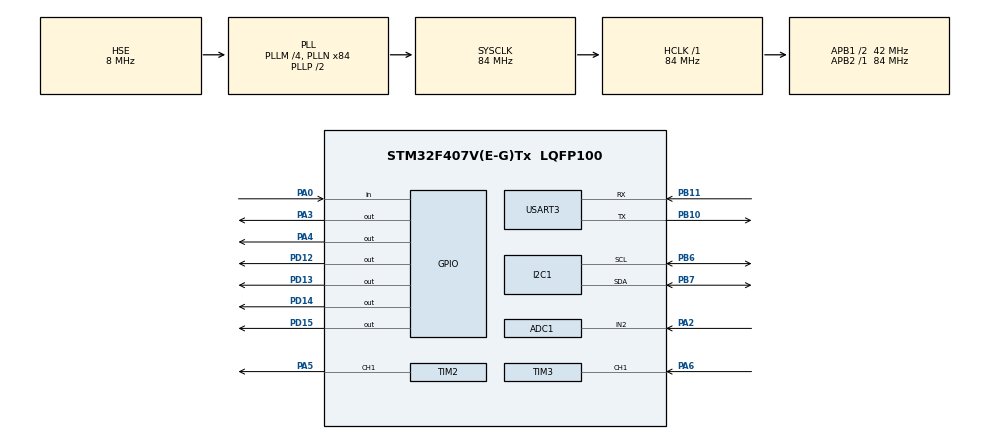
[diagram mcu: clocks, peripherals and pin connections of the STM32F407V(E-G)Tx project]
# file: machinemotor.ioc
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ADC1.Channel-0\#ChannelRegularConversion=ADC_CHANNEL_2
ADC1.ContinuousConvMode=ENABLE
ADC1.DMAContinuousRequests=ENABLE
ADC1.EOCSelection=ADC_EOC_SEQ_CONV
ADC1.NbrOfConversion=1
ADC1.NbrOfConversionFlag=1
ADC1.Rank-0\#ChannelRegularConversion=1
ADC1.SamplingTime-0\#ChannelRegularConversion=ADC_SAMPLETIME_56CYCLES
ADC1.ScanConvMode=ENABLE
ADC1.master=1
Dma.ADC1.0.Direction=DMA_PERIPH_TO_MEMORY
Dma.ADC1.0.FIFOMode=DMA_FIFOMODE_DISABLE
Dma.ADC1.0.Instance=DMA2_Stream0
Dma.ADC1.0.MemDataAlignment=DMA_MDATAALIGN_HALFWORD
Dma.ADC1.0.MemInc=DMA_MINC_ENABLE
Dma.ADC1.0.Mode=DMA_CIRCULAR
Dma.ADC1.0.PeriphDataAlignment=DMA_PDATAALIGN_HALFWORD
Dma.ADC1.0.PeriphInc=DMA_PINC_DISABLE
Dma.ADC1.0.Priority=DMA_PRIORITY_LOW
Dma.Request0=ADC1
Mcu.Family=STM32F4
Mcu.Name=STM32F407V(E-G)Tx
Mcu.Package=LQFP100
NVIC.DMA2_Stream0_IRQn=true\:3\:0\:true\:false\:true\:false\:true\:true
NVIC.PriorityGroup=NVIC_PRIORITYGROUP_4
NVIC.TIM3_IRQn=true\:0\:0\:true\:false\:true\:true\:true\:true
NVIC.TIM4_IRQn=true\:1\:0\:true\:false\:true\:true\:true\:true
NVIC.USART3_IRQn=true\:2\:0\:true\:false\:true\:true\:true\:true
PA0-WKUP.Signal=GPIO_Input
PA13.Mode=Serial_Wire
PA13.Signal=SYS_JTMS-SWDIO
PA14.Mode=Serial_Wire
PA14.Signal=SYS_JTCK-SWCLK
PA2.Signal=ADCx_IN2
PA3.Signal=GPIO_Output
PA4.Signal=GPIO_Output
PA5.Signal=S_TIM2_CH1_ETR
PA6.GPIO_PuPd=GPIO_PULLUP
PA6.Signal=S_TIM3_CH1
PB10.Mode=Asynchronous
PB10.Signal=USART3_TX
PB11.Mode=Asynchronous
PB11.Signal=USART3_RX
PB6.Mode=I2C
PB6.Signal=I2C1_SCL
PB7.Mode=I2C
PB7.Signal=I2C1_SDA
PD12.Signal=GPIO_Output
PD13.Signal=GPIO_Output
PD14.Signal=GPIO_Output
PD15.Signal=GPIO_Output
PH0-OSC_IN.Mode=HSE-External-Oscillator
PH0-OSC_IN.Signal=RCC_OSC_IN
PH1-OSC_OUT.Mode=HSE-External-Oscillator
PH1-OSC_OUT.Signal=RCC_OSC_OUT
ProjectManager.HeapSize=0x200
ProjectManager.StackSize=0x400
ProjectManager.TargetToolchain=STM32CubeIDE
RCC.48MHZClocksFreq_Value=42000000
RCC.AHBFreq_Value=84000000
RCC.APB1CLKDivider=RCC_HCLK_DIV2
RCC.APB1Freq_Value=42000000
RCC.APB1TimFreq_Value=84000000
RCC.APB2Freq_Value=84000000
RCC.APB2TimFreq_Value=84000000
RCC.CortexFreq_Value=84000000
RCC.HCLKFreq_Value=84000000
RCC.HSE_VALUE=8000000
RCC.HSI_VALUE=16000000
RCC.LSE_VALUE=32768
RCC.PLLM=4
RCC.PLLN=84
RCC.PLLSourceVirtual=RCC_PLLSOURCE_HSE
RCC.SYSCLKFreq_VALUE=84000000
RCC.SYSCLKSource=RCC_SYSCLKSOURCE_PLLCLK
RCC.VCOOutputFreq_Value=168000000
SH.ADCx_IN2.0=ADC1_IN2,IN2
SH.S_TIM2_CH1_ETR.0=TIM2_CH1,PWM Generation1 CH1
SH.S_TIM3_CH1.0=TIM3_CH1,Input_Capture1_from_TI1
TIM2.Channel-PWM\ Generation1\ CH1=TIM_CHANNEL_1
TIM2.Period=3359
TIM2.Prescaler=0
TIM3.Channel-Input_Capture1_from_TI1=TIM_CHANNEL_1
TIM3.ICFilter_CH1=15
TIM3.ICPolarity_CH1=TIM_INPUTCHANNELPOLARITY_FALLING
TIM3.Prescaler=83
TIM4.Period=499
TIM4.Prescaler=8399
USART3.VirtualMode=VM_ASYNC
VP_TIM2_VS_ClockSourceINT.Mode=Internal
VP_TIM3_VS_ClockSourceINT.Mode=Internal
VP_TIM4_VS_ClockSourceINT.Mode=Internal
board=custom

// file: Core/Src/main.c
/* USER CODE BEGIN Header */
/**
  ******************************************************************************
  * @file           : main.c
  * @brief          : Main program body
  ******************************************************************************
  */
/* USER CODE END Header */
#include "main.h"

/* USER CODE BEGIN Includes */

#include "lcd_2x16_drivers.h"
#include "uart_ex.h"
#include "io_driver.h"
#include "adc_drive.h"

/* USER CODE END Includes */

/* USER CODE BEGIN PD */

#define FILTER_SAMPLES     5
#define PWM_MAX            3360.0f
#define PWM_KICKSTART      300.0f
#define SIGNAL_TIMEOUT_MS  150

/* USER CODE END PD */

ADC_HandleTypeDef hadc1;
DMA_HandleTypeDef hdma_adc1;

I2C_HandleTypeDef hi2c1;

TIM_HandleTypeDef htim2;
TIM_HandleTypeDef htim3;
TIM_HandleTypeDef htim4;

UART_HandleTypeDef huart3;

/* USER CODE BEGIN PV */

UART_Ex_t uart3;
Circular_Buffer_t uartCbIn;
Circular_Buffer_t uartCbOut;
IO_Info_t ioInfo;
ADC_Info_t adcInfo;

volatile uint32_t 	manuel_pulse_sayaci = 0;
volatile uint8_t 	veri_hazir = 0;
volatile uint32_t 	log_zaman = 0;
volatile uint32_t 	log_rpm = 0;

volatile uint32_t 	prev_capture = 0;
volatile uint32_t 	curr_capture = 0;
volatile uint32_t 	pulse_interval = 0;
volatile uint8_t 	first_pulse = 1;

// İKİ FARKLI KRONOMETRE
volatile uint32_t last_pulse_tick 		= 0;
volatile uint32_t last_valid_pulse_time = 0;

volatile float raw_rpm 		= 0;
volatile float filtered_rpm = 0.0f;

volatile float 		rpm_buffer[FILTER_SAMPLES] = {0};
volatile uint8_t 	buffer_index = 0;
volatile uint8_t 	buffer_count = 0;

float target_rpm 		= 500.0f;
float target_rpm_hedef 	= 0.0f; // Başlangıçta motor dursun diye 0 yapıldı
float kp = 2.4629, ki 	= 0.07874, kd = 0.0f;
float error = 0, last_error = 0, integral = 0;
float pid_output 		= 0;

LCD_t lcd =
{
	.backLight 	= true,
	.columns 	= 16,
	.rows 	 	= 2,
	.i2c_addr 	= LCD_I2C_DEVICE_ADDRESS,
	.hi2c		= &hi2c1
};

/* USER CODE END PV */

void SystemClock_Config(void);
static void MX_GPIO_Init(void);
static void MX_DMA_Init(void);
static void MX_TIM2_Init(void);
static void MX_TIM3_Init(void);
static void MX_TIM4_Init(void);
static void MX_USART3_UART_Init(void);
static void MX_I2C1_Init(void);
static void MX_ADC1_Init(void);
/* USER CODE BEGIN PFP */

float Update_RPM_Filter(float new_rpm);
void PID_Update(void);

/* USER CODE END PFP */

int main(void)
{

  /* MCU Configuration--------------------------------------------------------*/

  /* Reset of all peripherals, Initializes the Flash interface and the Systick. */
  HAL_Init();

  /* USER CODE BEGIN Init */
  IO_Initalization(&ioInfo);
  /* USER CODE END Init */

  /* Configure the system clock */
  SystemClock_Config();

  /* Initialize all configured peripherals */
  MX_GPIO_Init();
  MX_DMA_Init();
  MX_TIM2_Init();
  MX_TIM3_Init();
  MX_TIM4_Init();
  MX_USART3_UART_Init();
  MX_I2C1_Init();
  MX_ADC1_Init();
  /* USER CODE BEGIN 2 */

  HAL_TIM_PWM_Start(&htim2, TIM_CHANNEL_1);
  HAL_TIM_IC_Start_IT(&htim3, TIM_CHANNEL_1);
  HAL_TIM_Base_Start_IT(&htim4);

  ADC_Initialization(&adcInfo, &hadc1);
  if(adcInfo.adcError != ADC_No_Error)
  {
 	  //ADC başlatılamadı, kullanıcıya bilgi ver!
  }

  UARTx_Initalization(&uart3, &huart3, &uartCbIn, &uartCbOut);

  char lineBuffer[128];

  // Motor Yön Pinleri Başlangıç (İleri Vites)
  HAL_GPIO_WritePin(GPIOA, GPIO_PIN_3, GPIO_PIN_RESET);
  HAL_GPIO_WritePin(GPIOA, GPIO_PIN_4, GPIO_PIN_SET);

  LCD_Initalization(&lcd);
  LCD_Clear(&lcd);
  LCD_Set_Cursor(&lcd, 0, 0);

  LCD_Send_String(&lcd,"E-BIKE SYSTEM");
  HAL_Delay(1000);

  LCD_Set_Cursor(&lcd, 0, 1);
  LCD_Send_String(&lcd, "YUSUF E-DRIVE");
  LCD_Set_Cursor(&lcd, 1, 2);
  LCD_Send_String(&lcd, "Version 2.0");
  HAL_Delay(2000);

  LCD_Clear(&lcd);
  LCD_Show_Cursor(&lcd);

  uint8_t secilen_mod 				= 1;
  uint32_t son_lcd_guncelleme 		= 0;
  Input_Status_t son_buton_durumu	= Input_Status_Low;

  ioInfo.outputInfo.ledGreen.pinState 	= GPIO_PIN_RESET;
  ioInfo.outputInfo.ledOrange.pinState 	= GPIO_PIN_RESET;
  ioInfo.outputInfo.ledRed.pinState	 	= GPIO_PIN_RESET;
  ioInfo.outputInfo.ledBlue.pinState 	= GPIO_PIN_RESET;

  // KONTROL ÜNİTESİ DURUM DEĞİŞKENLERİ
  static uint8_t sistem_durumu = 0;        // 0-3: Kurulum Menüsü, 4: Aktif Sürüş
  static uint8_t uart_reverse_request = 0; // 0: İleri (F), 1: Geri (R)
  static uint8_t current_direction = 0;    // Motorun fiziksel yönü
  static uint8_t drive_mode_type = 0;      // 0: Otomatik (A), 1: Manuel (M)

  /* USER CODE END 2 */

  /* Infinite loop */
  while (1)
  {

    /* USER CODE BEGIN 3 */

      // 1. HER ZAMAN POTANSİYOMETREYİ OKU (Arka Plan ADC)
      ADC_DMA_Conversion(&adcInfo);
      uint32_t pot_degeri = adcInfo.adcConvertedData[ADC_Channel_2];

      // =====================================================================
      // 2.(STATE MACHINE)
      // =====================================================================
      if (sistem_durumu == 0) // ADIM 1: Yön Sorma Ekranı
      {
          target_rpm_hedef = 0.0f; // Güvenlik için aracı kilitli tut

          UARTx_Printf(&uart3, "\r\n===============================\n\r");
          UARTx_Printf(&uart3, "   E-DRIVE SISTEM KURULUMU     \n\r");
          UARTx_Printf(&uart3, "===============================\n\r");
          UARTx_Printf(&uart3, "Lutfen Yonu Seciniz:\n\r");
          UARTx_Printf(&uart3, "[F] Ileri (Forward)\n\r");
          UARTx_Printf(&uart3, "[R] Geri (Reverse)\n\r");
          UARTx_Printf(&uart3, "Seciminiz (F/R): ");

          sistem_durumu = 1;
      }
      else if (sistem_durumu == 1) // ADIM 2: Yön Cevabını İşle
      {
          if(UARTx_ReadLine(&uart3, lineBuffer, sizeof(lineBuffer)))
          {
              if (lineBuffer[0] == 'F' || lineBuffer[0] == 'f') {
                  uart_reverse_request = 0;
                  UARTx_Printf(&uart3, "%c\n\r>> ILERI vites secildi.\n\r", lineBuffer[0]);
                  sistem_durumu = 2;
              }
              else if (lineBuffer[0] == 'R' || lineBuffer[0] == 'r') {
                  uart_reverse_request = 1;
                  drive_mode_type = 1;
                  UARTx_Printf(&uart3, "GERI\n\r*** GERI VITES AKTIF (Maks 600 RPM) ***\n\r");
                  UARTx_Printf(&uart3, "\r\n*** KURULUM TAMAMLANDI. MOTOR DEVREDE! ***\n\r");
                  UARTx_Printf(&uart3, "(Durdurmak ve resetlemek icin 'C' yazabilirsiniz)\n\r\n\r");
                  sistem_durumu = 4;
              }
              else {
                  UARTx_Printf(&uart3, "%c\n\r[!] Hatali giris! Lutfen 'F' veya 'R' tuslayiniz: ", lineBuffer[0]);
              }
          }
      }
      else if (sistem_durumu == 2) // ADIM 3: Sürüş Modu Sorma Ekranı
      {
          UARTx_Printf(&uart3, "\r\nLutfen Surus Modunu Seciniz:\n\r");
          UARTx_Printf(&uart3, "[A] Otomatik (Sabit Hiz - Buton)\n\r");
          UARTx_Printf(&uart3, "[M] Manuel (Gaz Kolu Kontrolu)\n\r");
          UARTx_Printf(&uart3, "Seciminiz (A/M): ");

          sistem_durumu = 3;
      }
      else if (sistem_durumu == 3) // ADIM 4: Mod Cevabını İşle
      {
          if(UARTx_ReadLine(&uart3, lineBuffer, sizeof(lineBuffer)))
          {
              if (lineBuffer[0] == 'A' || lineBuffer[0] == 'a') {
                  drive_mode_type = 0;
                  secilen_mod = 1; // Otomatikte ECO'dan başlasın
                  UARTx_Printf(&uart3, "%c\n\r>> OTOMATIK mod secildi.\n\r", lineBuffer[0]);
                  sistem_durumu = 4;
              }
              else if (lineBuffer[0] == 'M' || lineBuffer[0] == 'm') {
                  drive_mode_type = 1;
                  UARTx_Printf(&uart3, "%c\n\r>> MANUEL mod secildi.\n\r", lineBuffer[0]);
                  sistem_durumu = 4;
              }
              else {
                  UARTx_Printf(&uart3, "%c\n\r[!] Hatali giris! Lutfen 'A' veya 'M' tuslayiniz: ", lineBuffer[0]);
              }

              if (sistem_durumu == 4) {
                  UARTx_Printf(&uart3, "\r\n*** KURULUM TAMAMLANDI. MOTOR DEVREDE! ***\n\r");
                  UARTx_Printf(&uart3, "(Durdurmak ve resetlemek icin 'C' yazabilirsiniz)\n\r\n\r");
              }
          }
      }
      else if (sistem_durumu == 4) // ADIM 5: AKTİF SÜRÜŞ (Araç Yolda)
      {
          // --- SÜRÜŞÜ DURDURMA / SIFIRLAMA ---
          if(UARTx_ReadLine(&uart3, lineBuffer, sizeof(lineBuffer)))
          {
               if (lineBuffer[0] == 'C' || lineBuffer[0] == 'c') {
                   UARTx_Printf(&uart3, "\r\n>>> SISTEM DURDURULDU! KURULUM YENIDEN BASLIYOR <<<\n\r");
                   target_rpm_hedef = 0.0f;
                   target_rpm = 0.0f;
                   integral = 0.0f; // PID'yi sıfırla ki motoru zorlamasın
                   __HAL_TIM_SET_COMPARE(&htim2, TIM_CHANNEL_1, 0); // PWM'i anında kes
                   sistem_durumu = 0; // Başa dön
               }
          }

          // --- H-KÖPRÜSÜ GÜVENLİK FRENİ VE YÖN DEĞİŞİMİ ---
          if (uart_reverse_request != current_direction)
          {
              target_rpm_hedef = 0.0f; // Fren yap

              if (filtered_rpm < 50.0f) // Motor güvenlice durdu
              {
                  current_direction = uart_reverse_request;

                  if (current_direction == 1) // GERİ VİTES
                  {
                      HAL_GPIO_WritePin(GPIOA, GPIO_PIN_3, GPIO_PIN_SET);
                      HAL_GPIO_WritePin(GPIOA, GPIO_PIN_4, GPIO_PIN_RESET);
                      ioInfo.outputInfo.ledBlue.pinState = GPIO_PIN_SET;
                  }
                  else // İLERİ VİTES
                  {
                      HAL_GPIO_WritePin(GPIOA, GPIO_PIN_3, GPIO_PIN_RESET);
                      HAL_GPIO_WritePin(GPIOA, GPIO_PIN_4, GPIO_PIN_SET);
                      ioInfo.outputInfo.ledBlue.pinState = GPIO_PIN_RESET;
                  }
              }
          }
          else // --- SEYİR HALİ (GAZ TEPKİLERİ) ---
          {
              if (current_direction == 1)
              {
                  // GERİ VİTES (Sadece Pot, Maks 300 RPM)
                  target_rpm_hedef = ((float)pot_degeri / 4095.0f) * 600.0f;
              }
              else
              {
                  // İLERİ VİTES
                  if (drive_mode_type == 1)
                  {
                      // MANUEL MOD (Potansiyometre kontrolü, Maks 1200 RPM)
                      target_rpm_hedef = ((float)pot_degeri / 4095.0f) * 1200.0f;

                      ioInfo.outputInfo.ledGreen.pinState = GPIO_PIN_SET;
                      ioInfo.outputInfo.ledOrange.pinState = GPIO_PIN_RESET;
                      ioInfo.outputInfo.ledRed.pinState = GPIO_PIN_SET;
                  }
                  else
                  {
                      // OTOMATİK MOD (Mavi Buton ile Sabit Hız Seçimi)
                      IO_Status_Control(&ioInfo);

                      if (ioInfo.inputInfo.userButton.Input_Status == Input_Status_High && son_buton_durumu == Input_Status_Low)
                      {
                          secilen_mod++;
                          if (secilen_mod > 3) secilen_mod = 1;
                          son_lcd_guncelleme = 0;
                      }
                      son_buton_durumu = ioInfo.inputInfo.userButton.Input_Status;

                      switch(secilen_mod)
                      {
                          case 1: // ECO
                              target_rpm_hedef = 500.0f;
                              ioInfo.outputInfo.ledGreen.pinState = GPIO_PIN_SET;
                              ioInfo.outputInfo.ledOrange.pinState = GPIO_PIN_RESET;
                              ioInfo.outputInfo.ledRed.pinState = GPIO_PIN_RESET;
                              break;
                          case 2: // CITY
                              target_rpm_hedef = 900.0f;
                              ioInfo.outputInfo.ledGreen.pinState = GPIO_PIN_RESET;
                              ioInfo.outputInfo.ledOrange.pinState = GPIO_PIN_SET;
                              ioInfo.outputInfo.ledRed.pinState = GPIO_PIN_RESET;
                              break;
                          case 3: // SPORT
                              target_rpm_hedef = 1200.0f;
                              ioInfo.outputInfo.ledGreen.pinState = GPIO_PIN_RESET;
                              ioInfo.outputInfo.ledOrange.pinState = GPIO_PIN_RESET;
                              ioInfo.outputInfo.ledRed.pinState = GPIO_PIN_SET;
                              break;
                      }
                  }
              }
          }
      } // Sürüş Bloğunun Sonu

      if ((HAL_GetTick() - son_lcd_guncelleme) > 300)
      {
          son_lcd_guncelleme = HAL_GetTick();
          LCD_Set_Cursor(&lcd, 0, 0);

          if (sistem_durumu < 4) // Menüdeyken
          {
              LCD_Printf(&lcd, "[ SETUP WIZARD ] ");
          }
          else // Sürüşteyken
          {
              if (current_direction == 1)
              {
                  LCD_Printf(&lcd, "[ REVERSE DRIVE ]");
              }
              else
              {
                  if (drive_mode_type == 1)
                  {
                      LCD_Printf(&lcd, "[ MANUAL DRIVE ] ");
                  }
                  else
                  {
                      switch(secilen_mod)
                      {
                          case 1: LCD_Printf(&lcd, "[ ECO MODE ]     "); break;
                          case 2: LCD_Printf(&lcd, "[ CITY MODE ]    "); break;
                          case 3: LCD_Printf(&lcd, "[ SPORT MODE ]   "); break;
                      }
                  }
              }
          }

          LCD_Set_Cursor(&lcd, 1, 0);
          LCD_Printf(&lcd, "HIZ: %-4lu RPM  ", log_rpm);
      }
  }
  /* USER CODE END 3 */
}

void SystemClock_Config(void)
{
  RCC_OscInitTypeDef RCC_OscInitStruct = {0};
  RCC_ClkInitTypeDef RCC_ClkInitStruct = {0};

  /** Configure the main internal regulator output voltage
  */
  __HAL_RCC_PWR_CLK_ENABLE();
  __HAL_PWR_VOLTAGESCALING_CONFIG(PWR_REGULATOR_VOLTAGE_SCALE1);

  /** Initializes the RCC Oscillators according to the specified parameters
  * in the RCC_OscInitTypeDef structure.
  */
  RCC_OscInitStruct.OscillatorType = RCC_OSCILLATORTYPE_HSE;
  RCC_OscInitStruct.HSEState = RCC_HSE_ON;
  RCC_OscInitStruct.PLL.PLLState = RCC_PLL_ON;
  RCC_OscInitStruct.PLL.PLLSource = RCC_PLLSOURCE_HSE;
  RCC_OscInitStruct.PLL.PLLM = 4;
  RCC_OscInitStruct.PLL.PLLN = 84;
  RCC_OscInitStruct.PLL.PLLP = RCC_PLLP_DIV2;
  RCC_OscInitStruct.PLL.PLLQ = 4;
  if (HAL_RCC_OscConfig(&RCC_OscInitStruct) != HAL_OK)
  {
    Error_Handler();
  }

  /** Initializes the CPU, AHB and APB buses clocks
  */
  RCC_ClkInitStruct.ClockType = RCC_CLOCKTYPE_HCLK|RCC_CLOCKTYPE_SYSCLK
                              |RCC_CLOCKTYPE_PCLK1|RCC_CLOCKTYPE_PCLK2;
  RCC_ClkInitStruct.SYSCLKSource = RCC_SYSCLKSOURCE_PLLCLK;
  RCC_ClkInitStruct.AHBCLKDivider = RCC_SYSCLK_DIV1;
  RCC_ClkInitStruct.APB1CLKDivider = RCC_HCLK_DIV2;
  RCC_ClkInitStruct.APB2CLKDivider = RCC_HCLK_DIV1;

  if (HAL_RCC_ClockConfig(&RCC_ClkInitStruct, FLASH_LATENCY_2) != HAL_OK)
  {
    Error_Handler();
  }
}

static void MX_ADC1_Init(void)
{

  ADC_ChannelConfTypeDef sConfig = {0};

  /** Configure the global features of the ADC (Clock, Resolution, Data Alignment and number of conversion)
  */
  hadc1.Instance = ADC1;
  hadc1.Init.ClockPrescaler = ADC_CLOCK_SYNC_PCLK_DIV4;
  hadc1.Init.Resolution = ADC_RESOLUTION_12B;
  hadc1.Init.ScanConvMode = ENABLE;
  hadc1.Init.ContinuousConvMode = ENABLE;
  hadc1.Init.DiscontinuousConvMode = DISABLE;
  hadc1.Init.ExternalTrigConvEdge = ADC_EXTERNALTRIGCONVEDGE_NONE;
  hadc1.Init.ExternalTrigConv = ADC_SOFTWARE_START;
  hadc1.Init.DataAlign = ADC_DATAALIGN_RIGHT;
  hadc1.Init.NbrOfConversion = 1;
  hadc1.Init.DMAContinuousRequests = ENABLE;
  hadc1.Init.EOCSelection = ADC_EOC_SEQ_CONV;
  if (HAL_ADC_Init(&hadc1) != HAL_OK)
  {
    Error_Handler();
  }

  /** Configure for the selected ADC regular channel its corresponding rank in the sequencer and its sample time.
  */
  sConfig.Channel = ADC_CHANNEL_2;
  sConfig.Rank = 1;
  sConfig.SamplingTime = ADC_SAMPLETIME_56CYCLES;
  if (HAL_ADC_ConfigChannel(&hadc1, &sConfig) != HAL_OK)
  {
    Error_Handler();
  }

}

static void MX_I2C1_Init(void)
{

  hi2c1.Instance = I2C1;
  hi2c1.Init.ClockSpeed = 100000;
  hi2c1.Init.DutyCycle = I2C_DUTYCYCLE_2;
  hi2c1.Init.OwnAddress1 = 0;
  hi2c1.Init.AddressingMode = I2C_ADDRESSINGMODE_7BIT;
  hi2c1.Init.DualAddressMode = I2C_DUALADDRESS_DISABLE;
  hi2c1.Init.OwnAddress2 = 0;
  hi2c1.Init.GeneralCallMode = I2C_GENERALCALL_DISABLE;
  hi2c1.Init.NoStretchMode = I2C_NOSTRETCH_DISABLE;
  if (HAL_I2C_Init(&hi2c1) != HAL_OK)
  {
    Error_Handler();
  }

}

static void MX_TIM2_Init(void)
{

  TIM_ClockConfigTypeDef sClockSourceConfig = {0};
  TIM_MasterConfigTypeDef sMasterConfig = {0};
  TIM_OC_InitTypeDef sConfigOC = {0};

  htim2.Instance = TIM2;
  htim2.Init.Prescaler = 0;
  htim2.Init.CounterMode = TIM_COUNTERMODE_UP;
  htim2.Init.Period = 3359;
  htim2.Init.ClockDivision = TIM_CLOCKDIVISION_DIV1;
  htim2.Init.AutoReloadPreload = TIM_AUTORELOAD_PRELOAD_DISABLE;
  if (HAL_TIM_Base_Init(&htim2) != HAL_OK)
  {
    Error_Handler();
  }
  sClockSourceConfig.ClockSource = TIM_CLOCKSOURCE_INTERNAL;
  if (HAL_TIM_ConfigClockSource(&htim2, &sClockSourceConfig) != HAL_OK)
  {
    Error_Handler();
  }
  if (HAL_TIM_PWM_Init(&htim2) != HAL_OK)
  {
    Error_Handler();
  }
  sMasterConfig.MasterOutputTrigger = TIM_TRGO_RESET;
  sMasterConfig.MasterSlaveMode = TIM_MASTERSLAVEMODE_DISABLE;
  if (HAL_TIMEx_MasterConfigSynchronization(&htim2, &sMasterConfig) != HAL_OK)
  {
    Error_Handler();
  }
  sConfigOC.OCMode = TIM_OCMODE_PWM1;
  sConfigOC.Pulse = 0;
  sConfigOC.OCPolarity = TIM_OCPOLARITY_HIGH;
  sConfigOC.OCFastMode = TIM_OCFAST_DISABLE;
  if (HAL_TIM_PWM_ConfigChannel(&htim2, &sConfigOC, TIM_CHANNEL_1) != HAL_OK)
  {
    Error_Handler();
  }
  HAL_TIM_MspPostInit(&htim2);

}

static void MX_TIM3_Init(void)
{

  TIM_ClockConfigTypeDef sClockSourceConfig = {0};
  TIM_MasterConfigTypeDef sMasterConfig = {0};
  TIM_IC_InitTypeDef sConfigIC = {0};

  htim3.Instance = TIM3;
  htim3.Init.Prescaler = 83;
  htim3.Init.CounterMode = TIM_COUNTERMODE_UP;
  htim3.Init.Period = 65535;
  htim3.Init.ClockDivision = TIM_CLOCKDIVISION_DIV1;
  htim3.Init.AutoReloadPreload = TIM_AUTORELOAD_PRELOAD_DISABLE;
  if (HAL_TIM_Base_Init(&htim3) != HAL_OK)
  {
    Error_Handler();
  }
  sClockSourceConfig.ClockSource = TIM_CLOCKSOURCE_INTERNAL;
  if (HAL_TIM_ConfigClockSource(&htim3, &sClockSourceConfig) != HAL_OK)
  {
    Error_Handler();
  }
  if (HAL_TIM_IC_Init(&htim3) != HAL_OK)
  {
    Error_Handler();
  }
  sMasterConfig.MasterOutputTrigger = TIM_TRGO_RESET;
  sMasterConfig.MasterSlaveMode = TIM_MASTERSLAVEMODE_DISABLE;
  if (HAL_TIMEx_MasterConfigSynchronization(&htim3, &sMasterConfig) != HAL_OK)
  {
    Error_Handler();
  }
  sConfigIC.ICPolarity = TIM_INPUTCHANNELPOLARITY_FALLING;
  sConfigIC.ICSelection = TIM_ICSELECTION_DIRECTTI;
  sConfigIC.ICPrescaler = TIM_ICPSC_DIV1;
  sConfigIC.ICFilter = 15;
  if (HAL_TIM_IC_ConfigChannel(&htim3, &sConfigIC, TIM_CHANNEL_1) != HAL_OK)
  {
    Error_Handler();
  }

}

static void MX_TIM4_Init(void)
{

  TIM_ClockConfigTypeDef sClockSourceConfig = {0};
  TIM_MasterConfigTypeDef sMasterConfig = {0};

  htim4.Instance = TIM4;
  htim4.Init.Prescaler = 8399;
  htim4.Init.CounterMode = TIM_COUNTERMODE_UP;
  htim4.Init.Period = 499;
  htim4.Init.ClockDivision = TIM_CLOCKDIVISION_DIV1;
  htim4.Init.AutoReloadPreload = TIM_AUTORELOAD_PRELOAD_DISABLE;
  if (HAL_TIM_Base_Init(&htim4) != HAL_OK)
  {
    Error_Handler();
  }
  sClockSourceConfig.ClockSource = TIM_CLOCKSOURCE_INTERNAL;
  if (HAL_TIM_ConfigClockSource(&htim4, &sClockSourceConfig) != HAL_OK)
  {
    Error_Handler();
  }
  sMasterConfig.MasterOutputTrigger = TIM_TRGO_RESET;
  sMasterConfig.MasterSlaveMode = TIM_MASTERSLAVEMODE_DISABLE;
  if (HAL_TIMEx_MasterConfigSynchronization(&htim4, &sMasterConfig) != HAL_OK)
  {
    Error_Handler();
  }

}

static void MX_USART3_UART_Init(void)
{

  huart3.Instance = USART3;
  huart3.Init.BaudRate = 115200;
  huart3.Init.WordLength = UART_WORDLENGTH_8B;
  huart3.Init.StopBits = UART_STOPBITS_1;
  huart3.Init.Parity = UART_PARITY_NONE;
  huart3.Init.Mode = UART_MODE_TX_RX;
  huart3.Init.HwFlowCtl = UART_HWCONTROL_NONE;
  huart3.Init.OverSampling = UART_OVERSAMPLING_16;
  if (HAL_UART_Init(&huart3) != HAL_OK)
  {
    Error_Handler();
  }

}

static void MX_DMA_Init(void)
{

  /* DMA controller clock enable */
  __HAL_RCC_DMA2_CLK_ENABLE();

  /* DMA interrupt init */
  /* DMA2_Stream0_IRQn interrupt configuration */
  HAL_NVIC_SetPriority(DMA2_Stream0_IRQn, 3, 0);
  HAL_NVIC_EnableIRQ(DMA2_Stream0_IRQn);

}

static void MX_GPIO_Init(void)
{
  GPIO_InitTypeDef GPIO_InitStruct = {0};

  /* GPIO Ports Clock Enable */
  __HAL_RCC_GPIOH_CLK_ENABLE();
  __HAL_RCC_GPIOA_CLK_ENABLE();
  __HAL_RCC_GPIOB_CLK_ENABLE();
  __HAL_RCC_GPIOD_CLK_ENABLE();

  /*Configure GPIO pin Output Level */
  HAL_GPIO_WritePin(GPIOA, GPIO_PIN_3|GPIO_PIN_4, GPIO_PIN_RESET);

  /*Configure GPIO pin Output Level */
  HAL_GPIO_WritePin(GPIOD, GPIO_PIN_12|GPIO_PIN_13|GPIO_PIN_14|GPIO_PIN_15, GPIO_PIN_RESET);

  /*Configure GPIO pin : PA0 */
  GPIO_InitStruct.Pin = GPIO_PIN_0;
  GPIO_InitStruct.Mode = GPIO_MODE_INPUT;
  GPIO_InitStruct.Pull = GPIO_NOPULL;
  HAL_GPIO_Init(GPIOA, &GPIO_InitStruct);

  /*Configure GPIO pins : PA3 PA4 */
  GPIO_InitStruct.Pin = GPIO_PIN_3|GPIO_PIN_4;
  GPIO_InitStruct.Mode = GPIO_MODE_OUTPUT_PP;
  GPIO_InitStruct.Pull = GPIO_NOPULL;
  GPIO_InitStruct.Speed = GPIO_SPEED_FREQ_LOW;
  HAL_GPIO_Init(GPIOA, &GPIO_InitStruct);

  /*Configure GPIO pins : PD12 PD13 PD14 PD15 */
  GPIO_InitStruct.Pin = GPIO_PIN_12|GPIO_PIN_13|GPIO_PIN_14|GPIO_PIN_15;
  GPIO_InitStruct.Mode = GPIO_MODE_OUTPUT_PP;
  GPIO_InitStruct.Pull = GPIO_NOPULL;
  GPIO_InitStruct.Speed = GPIO_SPEED_FREQ_LOW;
  HAL_GPIO_Init(GPIOD, &GPIO_InitStruct);

}

/* USER CODE BEGIN 4 */

void HAL_TIM_PeriodElapsedCallback(TIM_HandleTypeDef *htim)
{
    if (htim->Instance == TIM4)
    {
        PID_Update();
    }
}

void HAL_TIM_IC_CaptureCallback(TIM_HandleTypeDef *htim)
{
    if (htim->Channel == HAL_TIM_ACTIVE_CHANNEL_1)
    {
    	manuel_pulse_sayaci++;
        uint32_t current_tick = HAL_GetTick();

        if ((current_tick - last_pulse_tick) > 60)
        {
            first_pulse = 1;
        }
        last_pulse_tick = current_tick;

        curr_capture = HAL_TIM_ReadCapturedValue(htim, TIM_CHANNEL_1);

        if (first_pulse)
        {
            prev_capture = curr_capture;
            first_pulse = 0;
        }
        else
        {
        	uint32_t p_interval;
        	if (curr_capture > prev_capture)
        	     p_interval = curr_capture - prev_capture;
        	else
        	{
        	    p_interval = (0xFFFF - prev_capture) + curr_capture + 1;
        	}
        	 prev_capture = curr_capture;

        	if (p_interval > 1500 && p_interval < 60000)
        	  {
        	    pulse_interval = p_interval;
        	    last_valid_pulse_time = current_tick;

        	    float frequency = 1000000.0f / (float)pulse_interval;
        	    raw_rpm = (frequency / 8.0f) * 60.0f;
        	    filtered_rpm = Update_RPM_Filter(raw_rpm);
        	 }
        }
    }
}

void PID_Update(void)
{
    static uint32_t stall_timer = 0;
    static uint8_t in_stall_recovery = 0;

    if ((HAL_GetTick() - last_valid_pulse_time) > SIGNAL_TIMEOUT_MS)
    {
        raw_rpm = 0.0f;
        filtered_rpm = 0.0f;
        first_pulse = 1;

        for(uint8_t i = 0; i < FILTER_SAMPLES; i++) rpm_buffer[i] = 0.0f;
        buffer_index = 0;
        buffer_count = 0;
    }

    if (filtered_rpm == 0.0f && target_rpm > 0.0f)
    {
        if (stall_timer == 0) stall_timer = HAL_GetTick();

        if ((HAL_GetTick() - stall_timer) > 2000)
        {
            in_stall_recovery = 1;
        }
    }
    else
    {
        stall_timer = 0;
        in_stall_recovery = 0;
    }

    if (in_stall_recovery)
    {
        pid_output = 0.0f;
        integral = 0.0f;
        __HAL_TIM_SET_COMPARE(&htim2, TIM_CHANNEL_1, 0);

        if ((HAL_GetTick() - stall_timer) > 3000)
        {
            in_stall_recovery = 0;
            stall_timer = HAL_GetTick();
        }
        return;
    }

    float rampRate = 15.0f;
    if (target_rpm < target_rpm_hedef)
    {
        target_rpm += rampRate;
        if (target_rpm > target_rpm_hedef) target_rpm = target_rpm_hedef;
    }
    else if (target_rpm > target_rpm_hedef)
    {
        target_rpm -= rampRate;
        if (target_rpm < target_rpm_hedef) target_rpm = target_rpm_hedef;
    }

    error = target_rpm - filtered_rpm;

    integral += error;
    float integral_max = 3360.0f;
    if (ki > 0.0001f) {
        integral_max = PWM_MAX / ki;
    }

    if (integral > integral_max)  integral = integral_max;
    if (integral < -integral_max) integral = -integral_max;

    float derivative = error - last_error;

    pid_output = (kp * error) + (ki * integral) + (kd * derivative);
    last_error = error;

    if (pid_output > PWM_MAX)
    {
        pid_output = PWM_MAX;
    }
    else if (pid_output > 0.5f && pid_output < PWM_KICKSTART)
    {
        pid_output = PWM_KICKSTART;
    }
    else if (pid_output <= 0.5f)
    {
        pid_output = 0.0f;
    }

    __HAL_TIM_SET_COMPARE(&htim2, TIM_CHANNEL_1, (uint32_t)pid_output);

    log_zaman = HAL_GetTick();
    log_rpm = (uint32_t)filtered_rpm;
    veri_hazir = 1;
}

float Update_RPM_Filter(float new_rpm)
{
    float sum = 0.0f;

    rpm_buffer[buffer_index] = new_rpm;
    buffer_index++;

    if (buffer_count < FILTER_SAMPLES) buffer_count++;
    if (buffer_index >= FILTER_SAMPLES) buffer_index = 0;

    if (buffer_count == 0) return 0.0f;

    for (uint8_t i = 0; i < buffer_count; i++)
    {
        sum += rpm_buffer[i];
    }

    return (sum / (float)buffer_count);
}

/* USER CODE END 4 */

void Error_Handler(void)
{
  __disable_irq();
  while (1)
  {
  }
}
